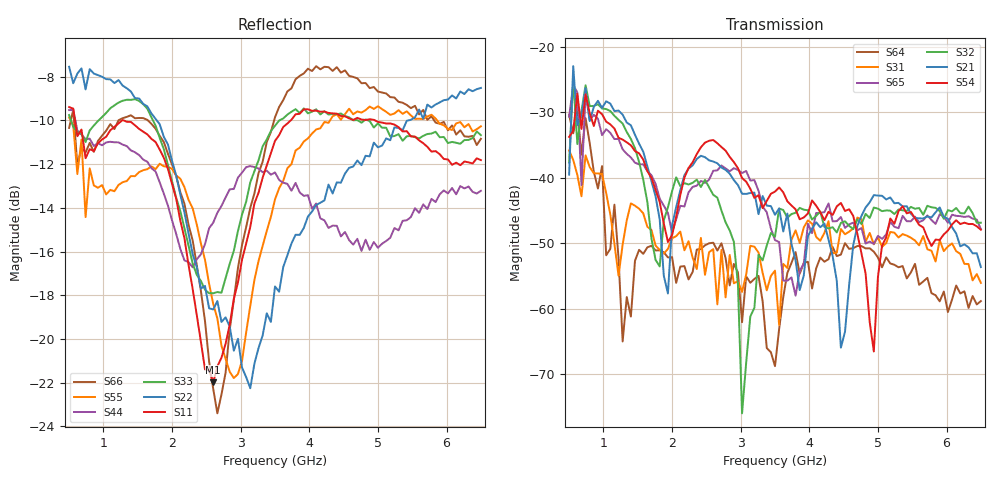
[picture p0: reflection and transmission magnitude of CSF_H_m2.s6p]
!Keysight Technologies,M9804A,MY58100912,A.14.10.03
!Date: Thursday, April 27, 2023 10:28:33
!Correction: S11(C  6-Port  )
!S12(C  6-Port  )
!S13(C  6-Port  )
!S14(C  6-Port  )
!S15(C  6-Port  )
!S16(C  6-Port  )
!S21(C  6-Port  )
!S22(C  6-Port  )
!S23(C  6-Port  )
!S24(C  6-Port  )
!S25(C  6-Port  )
!S26(C  6-Port  )
!S31(C  6-Port  )
!S32(C  6-Port  )
!S33(C  6-Port  )
!S34(C  6-Port  )
!S35(C  6-Port  )
!S36(C  6-Port  )
!S41(C  6-Port  )
!S42(C  6-Port  )
!S43(C  6-Port  )
!S44(C  6-Port  )
!S45(C  6-Port  )
!S46(C  6-Port  )
!S51(C  6-Port  )
!S52(C  6-Port  )
!S53(C  6-Port  )
!S54(C  6-Port  )
!S55(C  6-Port  )
!S56(C  6-Port  )
!S61(C  6-Port  )
!S62(C  6-Port  )
!S63(C  6-Port  )
!S64(C  6-Port  )
!S65(C  6-Port  )
!S66(C  6-Port  )
!S6P File: Measurement: :
# Hz S  RI  R 50
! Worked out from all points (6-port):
!   101 points, 500 MHz to 6.5 GHz, reference 50 ohm
!   strongest paths, dB at 500 MHz, 2 GHz, 3.5 GHz, 5 GHz, 6.5 GHz:
!     S54: -33.7, -48.8, -42.1, -55.2, -47.9
!     S21: -39.5, -47.3, -45.7, -42.7, -53.7
!     S32: -37.7, -42.1, -49.0, -44.7, -46.9
!     S65: -30.6, -48.4, -49.5, -48.9, -47.9
!     S31: -35.8, -49.3, -54.2, -49.1, -56.1
!     S64: -30.4, -52.1, -68.8, -52.2, -58.9
!   lowest |S11| = -22.0 dB at 2.6 GHz (marker M1), VSWR 1.17, Z = 42.9 + j1.89 ohm
!   |S11| at or under -10 dB: 585.4 MHz to 1.274 GHz (689.1 MHz wide, 74.1 % of centre); 1.291 GHz to 3.731 GHz (2.44 GHz wide, 97.2 % of centre); 4.954 GHz to end of sweep
